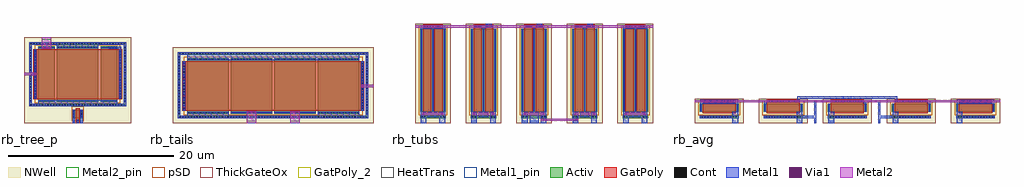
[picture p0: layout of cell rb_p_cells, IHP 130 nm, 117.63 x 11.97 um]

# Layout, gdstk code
from math import pi, radians
import gdstk
lib = gdstk.Library(unit=1e-6, precision=1e-09)
def R(c, l, rs):  # rectangles x0, y0, x1, y1
    for r in rs: c.add(gdstk.rectangle(r[:2], r[2:], *l))
def A(c, l, x, y, w, h, nx, ny, dx, dy):  # array of equal rectangles
    R(c, l, [(x+i*dx, y+j*dy, x+i*dx+w, y+j*dy+h) for i in range(nx) for j in range(ny)])
Activ = (1, 0)
GatPoly = (5, 0)
GatPoly_2 = (5, 2)
Cont = (6, 0)
Metal1 = (8, 0)
Metal1_pin = (8, 2)
Metal2 = (10, 0)
Metal2_pin = (10, 2)
pSD = (14, 0)
Via1 = (19, 0)
NWell = (31, 0)
ThickGateOx = (44, 0)
HeatTrans = (51, 0)

rb_pmoshv_w2_l6 = lib.new_cell('rb_pmosHV_w2_l6')
R(rb_pmoshv_w2_l6, Activ, [(0,0,0.3,0.3), (0,0,6.68,2), (6.38,0,6.68,0.3)])
R(rb_pmoshv_w2_l6, GatPoly, [(0.34,-0.18,6.34,2.18)])
R(rb_pmoshv_w2_l6, GatPoly_2, [(0.34,-0.18,6.34,2.18)])
A(rb_pmoshv_w2_l6, Cont, 0.07, 0.07, 0.16, 0.16, 1, 6, 0, 0.34)
A(rb_pmoshv_w2_l6, Cont, 6.45, 0.07, 0.16, 0.16, 1, 6, 0, 0.34)
R(rb_pmoshv_w2_l6, Metal1, [(0.07,0,0.23,2), (6.45,0,6.61,2)])
R(rb_pmoshv_w2_l6, Metal1_pin, [(0.07,0,0.23,2), (6.45,0,6.61,2)])
R(rb_pmoshv_w2_l6, pSD, [(-0.18,-0.4,6.86,2.4)])
R(rb_pmoshv_w2_l6, NWell, [(-0.62,-0.62,7.3,2.62)])
R(rb_pmoshv_w2_l6, ThickGateOx, [(-0.62,-0.62,7.3,2.62)])
R(rb_pmoshv_w2_l6, HeatTrans, [(0.34,-0.18,6.34,2.18)])
rb_pmoshv_w2_l6.add(gdstk.Label('pmosHV', (3.34,1), layer=63, texttype=0))
rb_pmoshv_w2_l6.add(gdstk.Label('pmos', (3.34,1), layer=51, texttype=0))

rb_pmoshv_w5_l6 = lib.new_cell('rb_pmosHV_w5_l6')
R(rb_pmoshv_w5_l6, Activ, [(0,0,0.3,0.3), (0,0,6.68,5), (6.38,0,6.68,0.3)])
R(rb_pmoshv_w5_l6, GatPoly, [(0.34,-0.18,6.34,5.18)])
R(rb_pmoshv_w5_l6, GatPoly_2, [(0.34,-0.18,6.34,5.18)])
A(rb_pmoshv_w5_l6, Cont, 0.07, 0.07, 0.16, 0.16, 1, 4, 0, 0.36)
A(rb_pmoshv_w5_l6, Cont, 6.45, 0.07, 0.16, 0.16, 1, 4, 0, 0.36)
A(rb_pmoshv_w5_l6, Cont, 0.07, 1.515, 0.16, 0.16, 1, 3, 0, 0.36)
A(rb_pmoshv_w5_l6, Cont, 6.45, 1.515, 0.16, 0.16, 1, 3, 0, 0.36)
A(rb_pmoshv_w5_l6, Cont, 0.07, 2.6, 0.16, 0.16, 1, 3, 0, 0.36)
A(rb_pmoshv_w5_l6, Cont, 6.45, 2.6, 0.16, 0.16, 1, 3, 0, 0.36)
A(rb_pmoshv_w5_l6, Cont, 0.07, 3.685, 0.16, 0.16, 1, 3, 0, 0.36)
A(rb_pmoshv_w5_l6, Cont, 6.45, 3.685, 0.16, 0.16, 1, 3, 0, 0.36)
R(rb_pmoshv_w5_l6, Cont, [(0.07,4.77,0.23,4.93), (6.45,4.77,6.61,4.93)])
R(rb_pmoshv_w5_l6, Metal1, [(0.07,0,0.23,5), (6.45,0,6.61,5)])
R(rb_pmoshv_w5_l6, Metal1_pin, [(0.07,0,0.23,5), (6.45,0,6.61,5)])
R(rb_pmoshv_w5_l6, pSD, [(-0.18,-0.4,6.86,5.4)])
R(rb_pmoshv_w5_l6, NWell, [(-0.62,-0.62,7.3,5.62)])
R(rb_pmoshv_w5_l6, ThickGateOx, [(-0.62,-0.62,7.3,5.62)])
R(rb_pmoshv_w5_l6, HeatTrans, [(0.34,-0.18,6.34,5.18)])
rb_pmoshv_w5_l6.add(gdstk.Label('pmosHV', (3.34,2.5), layer=63, texttype=0))
rb_pmoshv_w5_l6.add(gdstk.Label('pmos', (3.34,2.5), layer=51, texttype=0))

rb_pmoshv_w1_l0p45 = lib.new_cell('rb_pmosHV_w1_l0p45')
R(rb_pmoshv_w1_l0p45, Activ, [(0,0,0.3,0.3), (0,0,1.13,1), (0.83,0,1.13,0.3)])
R(rb_pmoshv_w1_l0p45, GatPoly, [(0.34,-0.18,0.79,1.18)])
R(rb_pmoshv_w1_l0p45, GatPoly_2, [(0.34,-0.18,0.79,1.18)])
A(rb_pmoshv_w1_l0p45, Cont, 0.07, 0.07, 0.16, 0.16, 1, 3, 0, 0.35)
A(rb_pmoshv_w1_l0p45, Cont, 0.9, 0.07, 0.16, 0.16, 1, 3, 0, 0.35)
R(rb_pmoshv_w1_l0p45, Metal1, [(0.07,0,0.23,1), (0.9,0,1.06,1)])
R(rb_pmoshv_w1_l0p45, Metal1_pin, [(0.07,0,0.23,1), (0.9,0,1.06,1)])
R(rb_pmoshv_w1_l0p45, pSD, [(-0.18,-0.4,1.31,1.4)])
R(rb_pmoshv_w1_l0p45, NWell, [(-0.62,-0.62,1.75,1.62)])
R(rb_pmoshv_w1_l0p45, ThickGateOx, [(-0.62,-0.62,1.75,1.62)])
R(rb_pmoshv_w1_l0p45, HeatTrans, [(0.34,-0.18,0.79,1.18)])
rb_pmoshv_w1_l0p45.add(gdstk.Label('pmosHV', (0.565,0.5), layer=63, texttype=0))
rb_pmoshv_w1_l0p45.add(gdstk.Label('pmos', (0.565,0.5), layer=51, texttype=0))

rb_tree_p = lib.new_cell('rb_tree_p')
R(rb_tree_p, Activ, [(0.62,2.05,12.32,2.35), (0.62,2.35,0.92,9.45), (12.02,2.35,12.32,9.45), (0.62,9.45,12.32,9.75)])
R(rb_tree_p, GatPoly, [(6.245,0.06,6.695,0.62), (1.12,2.9,1.72,8.9), (11.22,2.9,11.82,8.9)])
A(rb_tree_p, Cont, 0.78, 2.12, 0.16, 0.16, 34, 2, 0.34, 7.4)
A(rb_tree_p, Cont, 0.69, 2.59, 0.16, 0.16, 1, 20, 0, 0.34)
A(rb_tree_p, Cont, 12.09, 2.59, 0.16, 0.16, 1, 20, 0, 0.34)
A(rb_tree_p, Cont, 1.26, 3.1, 0.16, 0.16, 1, 17, 0, 0.34)
A(rb_tree_p, Cont, 11.52, 3.1, 0.16, 0.16, 1, 17, 0, 0.34)
R(rb_tree_p, Cont, [(6.39,0.28,6.55,0.44)])
R(rb_tree_p, Metal1, [(5.875,0,6.135,1.62), (6.34,0,6.6,0.44), (6.805,0,7.065,1.62), (0.62,2.05,12.32,2.35), (1.72,2.05,11.22,2.79), (0.62,2.35,0.92,9.45), (12.02,2.35,12.32,9.45), (1.21,2.92,1.47,8.88), (11.47,2.92,11.73,8.88), (11.47,8.87,11.73,9.21), (2.165,8.94,3.275,9.23), (10.22,8.95,11.73,9.21), (3.97,9.01,8.97,9.45), (0.62,9.45,12.32,9.75)])
A(rb_tree_p, Metal1_pin, 5.875, 0, 0.26, 0.3, 3, 1, 0.465, 0)
R(rb_tree_p, Metal1_pin, [(0.62,3.06,0.92,5.06)])
R(rb_tree_p, Metal2, [(0,5.75,1.47,6.05), (2.165,8.94,3.275,10.37)])
R(rb_tree_p, Metal2_pin, [(0,5.75,0.5,6.05), (2.165,10.07,3.275,10.37)])
A(rb_tree_p, Via1, 2.215, 8.99, 0.19, 0.19, 3, 1, 0.41, 0)
R(rb_tree_p, Via1, [(1.245,5.805,1.435,5.995)])
R(rb_tree_p, NWell, [(0,0,12.94,10.37)])
R(rb_tree_p, ThickGateOx, [(0,0,12.94,10.37)])
rb_tree_p.add(gdstk.Reference(rb_pmoshv_w2_l6, (3.72,2.56), rotation=pi/2))
rb_tree_p.add(gdstk.Reference(rb_pmoshv_w5_l6, (8.97,2.56), rotation=pi/2))
rb_tree_p.add(gdstk.Reference(rb_pmoshv_w2_l6, (9.22,2.56), rotation=pi/2, x_reflection=True))
rb_tree_p.add(gdstk.Reference(rb_pmoshv_w1_l0p45, (5.905,1.62), x_reflection=True))
rb_tree_p.add(gdstk.Label('vdd', (0.77,4.06), layer=8, texttype=25))
rb_tree_p.add(gdstk.Label('en_3v3_b', (6.47,0.15), layer=8, texttype=25))
rb_tree_p.add(gdstk.Label('iref', (6.005,0.15), layer=8, texttype=25))
rb_tree_p.add(gdstk.Label('ni', (6.935,0.15), layer=8, texttype=25))
rb_tree_p.add(gdstk.Label('vbnc', (2.72,10.22), layer=10, texttype=25))
rb_tree_p.add(gdstk.Label('vbp', (0.25,5.9), layer=10, texttype=25))
rb_tree_p.add(gdstk.Label('PBNC', (2.72,5.9), layer=63, texttype=0))
rb_tree_p.add(gdstk.Label('MDPBN', (6.47,5.9), layer=63, texttype=0))
rb_tree_p.add(gdstk.Label('BP', (10.22,5.9), layer=63, texttype=0))
rb_tree_p.add(gdstk.Label('TGP', (6.47,1.12), layer=63, texttype=0))

rb_tails = lib.new_cell('rb_tails')
R(rb_tails, Activ, [(0.62,0.62,23.57,0.92), (0.62,0.92,0.92,8.24), (23.27,0.92,23.57,8.24), (0.62,8.24,23.57,8.54)])
R(rb_tails, GatPoly, [(1.12,1.47,1.72,7.47), (22.47,1.47,23.07,7.47)])
A(rb_tails, Cont, 0.795, 0.69, 0.16, 0.16, 67, 2, 0.34, 7.62)
A(rb_tails, Cont, 0.69, 1.1, 0.16, 0.16, 1, 21, 0, 0.34)
A(rb_tails, Cont, 23.34, 1.1, 0.16, 0.16, 1, 21, 0, 0.34)
A(rb_tails, Cont, 1.26, 1.67, 0.16, 0.16, 1, 17, 0, 0.34)
A(rb_tails, Cont, 22.77, 1.67, 0.16, 0.16, 1, 17, 0, 0.34)
R(rb_tails, Metal1, [(0.62,0.62,23.57,0.92), (0.62,0.92,0.92,8.24), (1.72,0.92,6.72,1.36), (17.47,0.92,22.47,1.36), (23.27,0.92,23.57,8.24), (8.915,1.14,10.025,1.43), (14.165,1.14,15.275,1.43), (1.21,1.49,1.47,7.45), (22.72,1.49,22.98,7.45), (1.72,7.58,22.47,8.54), (0.62,8.24,23.57,8.54)])
R(rb_tails, Metal1_pin, [(0.62,1.63,0.92,3.63)])
R(rb_tails, Metal2, [(8.915,0,10.025,1.43), (14.165,0,15.275,1.43), (22.72,4.32,24.19,4.62)])
R(rb_tails, Metal2_pin, [(8.915,0,10.025,0.3), (14.165,0,15.275,0.3), (23.69,4.32,24.19,4.62)])
A(rb_tails, Via1, 8.965, 1.19, 0.19, 0.19, 3, 1, 0.41, 0)
A(rb_tails, Via1, 14.215, 1.19, 0.19, 0.19, 3, 1, 0.41, 0)
R(rb_tails, Via1, [(22.755,4.375,22.945,4.565)])
R(rb_tails, NWell, [(0,0,24.19,9.16)])
R(rb_tails, ThickGateOx, [(0,0,24.19,9.16)])
rb_tails.add(gdstk.Reference(rb_pmoshv_w5_l6, (1.72,7.81), rotation=3*pi/2))
rb_tails.add(gdstk.Reference(rb_pmoshv_w5_l6, (6.97,7.81), rotation=3*pi/2))
rb_tails.add(gdstk.Reference(rb_pmoshv_w5_l6, (17.22,7.81), rotation=3*pi/2, x_reflection=True))
rb_tails.add(gdstk.Reference(rb_pmoshv_w5_l6, (22.47,7.81), rotation=3*pi/2, x_reflection=True))
rb_tails.add(gdstk.Label('vdd', (0.77,2.63), layer=8, texttype=25))
rb_tails.add(gdstk.Label('ts', (9.47,0.15), layer=10, texttype=25))
rb_tails.add(gdstk.Label('bt', (14.72,0.15), layer=10, texttype=25))
rb_tails.add(gdstk.Label('vbp', (23.94,4.47), layer=10, texttype=25))
rb_tails.add(gdstk.Label('D', (4.22,4.47), layer=63, texttype=0))
rb_tails.add(gdstk.Label('TR', (9.47,4.47), layer=63, texttype=0))
rb_tails.add(gdstk.Label('BT', (14.72,4.47), layer=63, texttype=0))
rb_tails.add(gdstk.Label('D', (19.97,4.47), layer=63, texttype=0))

rb_pmoshv_w20_l1_ng2 = lib.new_cell('rb_pmosHV_w20_l1_ng2')
A(rb_pmoshv_w20_l1_ng2, Activ, 0, 0, 0.3, 0.3, 3, 1, 1.38, 0)
R(rb_pmoshv_w20_l1_ng2, Activ, [(0,0,3.06,10)])
R(rb_pmoshv_w20_l1_ng2, GatPoly, [(0.34,-0.18,1.34,10.18), (1.72,-0.18,2.72,10.18)])
R(rb_pmoshv_w20_l1_ng2, GatPoly_2, [(0.34,-0.18,1.34,10.18)])
A(rb_pmoshv_w20_l1_ng2, Cont, 0.07, 0.07, 0.16, 0.16, 3, 4, 1.38, 0.345)
A(rb_pmoshv_w20_l1_ng2, Cont, 0.07, 1.455, 0.16, 0.16, 3, 3, 1.38, 0.345)
A(rb_pmoshv_w20_l1_ng2, Cont, 0.07, 2.495, 0.16, 0.16, 3, 4, 1.38, 0.345)
A(rb_pmoshv_w20_l1_ng2, Cont, 0.07, 3.88, 0.16, 0.16, 3, 3, 1.38, 0.345)
A(rb_pmoshv_w20_l1_ng2, Cont, 0.07, 4.92, 0.16, 0.16, 3, 4, 1.38, 0.345)
A(rb_pmoshv_w20_l1_ng2, Cont, 0.07, 6.305, 0.16, 0.16, 3, 3, 1.38, 0.345)
A(rb_pmoshv_w20_l1_ng2, Cont, 0.07, 7.345, 0.16, 0.16, 3, 4, 1.38, 0.345)
A(rb_pmoshv_w20_l1_ng2, Cont, 0.07, 8.73, 0.16, 0.16, 3, 3, 1.38, 0.345)
A(rb_pmoshv_w20_l1_ng2, Cont, 0.07, 9.77, 0.16, 0.16, 3, 1, 1.38, 0)
A(rb_pmoshv_w20_l1_ng2, Metal1, 0.07, 0, 0.16, 10, 3, 1, 1.38, 0)
R(rb_pmoshv_w20_l1_ng2, Metal1_pin, [(0.07,0,0.23,10), (1.45,0,1.61,10)])
R(rb_pmoshv_w20_l1_ng2, pSD, [(-0.18,-0.4,3.24,10.4)])
R(rb_pmoshv_w20_l1_ng2, NWell, [(-0.62,-0.62,3.68,10.62)])
R(rb_pmoshv_w20_l1_ng2, ThickGateOx, [(-0.62,-0.62,3.68,10.62)])
R(rb_pmoshv_w20_l1_ng2, HeatTrans, [(0.34,-0.18,1.34,10.18), (1.72,-0.18,2.72,10.18)])
rb_pmoshv_w20_l1_ng2.add(gdstk.Label('pmosHV', (0.84,5), layer=63, texttype=0))
rb_pmoshv_w20_l1_ng2.add(gdstk.Label('pmos', (0.84,5), layer=51, texttype=0))
rb_pmoshv_w20_l1_ng2.add(gdstk.Label('pmos', (2.22,5), layer=51, texttype=0))

rb_tub_p20x1 = lib.new_cell('rb_tub_p20x1')
R(rb_tub_p20x1, Activ, [(0,-0.73,3.06,-0.43)])
R(rb_tub_p20x1, GatPoly, [(0.34,10,1.34,10.56), (1.72,10,2.72,10.56), (1.34,10.07,1.72,10.56)])
A(rb_tub_p20x1, Cont, 0.42, 10.18, 0.16, 0.16, 3, 1, 0.34, 0)
A(rb_tub_p20x1, Cont, 1.8, 10.18, 0.16, 0.16, 3, 1, 0.34, 0)
R(rb_tub_p20x1, Cont, [(0.12,-0.66,0.28,-0.5), (0.46,-0.66,0.62,-0.5), (2.44,-0.66,2.6,-0.5), (2.78,-0.66,2.94,-0.5)])
R(rb_tub_p20x1, Metal1, [(0.07,-1.35,0.74,0), (2.32,-1.35,2.99,0), (0.975,-0.62,2.085,0), (0.37,10.18,1.31,10.4), (1.75,10.18,2.69,10.4)])
R(rb_tub_p20x1, Metal2, [(0.26,-0.41,2.8,-0.12)])
R(rb_tub_p20x1, Via1, [(0.31,-0.36,0.5,-0.17), (2.56,-0.36,2.75,-0.17)])
R(rb_tub_p20x1, NWell, [(-0.62,-1.35,3.68,10.62)])
R(rb_tub_p20x1, ThickGateOx, [(-0.62,-1.35,3.68,10.62)])
rb_tub_p20x1.add(gdstk.Reference(rb_pmoshv_w20_l1_ng2, (0,0)))

rb_tubs = lib.new_cell('rb_tubs')
A(rb_tubs, Metal1, 8.54, 11.53, 0.7, 0.44, 3, 1, 6.1, 0)
R(rb_tubs, Metal1, [(13.795,0,14.905,0.73), (0.69,0.73,3.61,1.05), (25.09,0.73,28.01,1.05), (0.69,11.35,3.61,11.795), (8.03,11.35,8.47,11.75), (20.23,11.35,20.67,11.75), (25.09,11.35,28.01,11.795)])
A(rb_tubs, Metal1_pin, 6.79, 0, 0.67, 0.3, 3, 1, 6.1, 0)
A(rb_tubs, Metal1_pin, 8.54, 11.67, 0.7, 0.3, 3, 1, 6.1, 0)
R(rb_tubs, Metal1_pin, [(13.795,0,14.905,0.3)])
R(rb_tubs, Metal2, [(15.14,0.27,19.66,0.53), (0,11.52,28.7,11.78)])
R(rb_tubs, Metal2_pin, [(0,11.52,0.5,11.78)])
A(rb_tubs, Via1, 1.235, 11.555, 0.19, 0.19, 5, 1, 0.41, 0)
A(rb_tubs, Via1, 25.635, 11.555, 0.19, 0.19, 5, 1, 0.41, 0)
R(rb_tubs, Via1, [(15.38,0.305,15.57,0.495), (19.23,0.305,19.42,0.495)])
rb_tubs.add(gdstk.Reference(rb_tub_p20x1, (0.62,1.35)))
rb_tubs.add(gdstk.Reference(rb_tub_p20x1, (6.72,1.35)))
rb_tubs.add(gdstk.Reference(rb_tub_p20x1, (12.82,1.35)))
rb_tubs.add(gdstk.Reference(rb_tub_p20x1, (18.92,1.35)))
rb_tubs.add(gdstk.Reference(rb_tub_p20x1, (25.02,1.35)))
rb_tubs.add(gdstk.Label('gh', (8.89,11.82), layer=8, texttype=25))
rb_tubs.add(gdstk.Label('ts', (7.125,0.15), layer=8, texttype=25))
rb_tubs.add(gdstk.Label('bd', (14.35,0.15), layer=8, texttype=25))
rb_tubs.add(gdstk.Label('m', (14.99,11.82), layer=8, texttype=25))
rb_tubs.add(gdstk.Label('bt', (13.225,0.15), layer=8, texttype=25))
rb_tubs.add(gdstk.Label('vcm', (21.09,11.82), layer=8, texttype=25))
rb_tubs.add(gdstk.Label('bt', (19.325,0.15), layer=8, texttype=25))
rb_tubs.add(gdstk.Label('vdd', (0.25,11.65), layer=10, texttype=25))
rb_tubs.add(gdstk.Label('D', (2.15,6.35), layer=63, texttype=0))
rb_tubs.add(gdstk.Label('MR', (8.25,6.35), layer=63, texttype=0))
rb_tubs.add(gdstk.Label('BA', (14.35,6.35), layer=63, texttype=0))
rb_tubs.add(gdstk.Label('BB', (20.45,6.35), layer=63, texttype=0))
rb_tubs.add(gdstk.Label('D', (26.55,6.35), layer=63, texttype=0))

rb_pmoshv_w1_l4 = lib.new_cell('rb_pmosHV_w1_l4')
R(rb_pmoshv_w1_l4, Activ, [(0,0,0.3,0.3), (0,0,4.68,1), (4.38,0,4.68,0.3)])
R(rb_pmoshv_w1_l4, GatPoly, [(0.34,-0.18,4.34,1.18)])
R(rb_pmoshv_w1_l4, GatPoly_2, [(0.34,-0.18,4.34,1.18)])
A(rb_pmoshv_w1_l4, Cont, 0.07, 0.07, 0.16, 0.16, 1, 3, 0, 0.35)
A(rb_pmoshv_w1_l4, Cont, 4.45, 0.07, 0.16, 0.16, 1, 3, 0, 0.35)
R(rb_pmoshv_w1_l4, Metal1, [(0.07,0,0.23,1), (4.45,0,4.61,1)])
R(rb_pmoshv_w1_l4, Metal1_pin, [(0.07,0,0.23,1), (4.45,0,4.61,1)])
R(rb_pmoshv_w1_l4, pSD, [(-0.18,-0.4,4.86,1.4)])
R(rb_pmoshv_w1_l4, NWell, [(-0.62,-0.62,5.3,1.62)])
R(rb_pmoshv_w1_l4, ThickGateOx, [(-0.62,-0.62,5.3,1.62)])
R(rb_pmoshv_w1_l4, HeatTrans, [(0.34,-0.18,4.34,1.18)])
rb_pmoshv_w1_l4.add(gdstk.Label('pmosHV', (2.34,0.5), layer=63, texttype=0))
rb_pmoshv_w1_l4.add(gdstk.Label('pmos', (2.34,0.5), layer=51, texttype=0))

rb_tub_p1x4 = lib.new_cell('rb_tub_p1x4')
R(rb_tub_p1x4, Activ, [(0,-0.73,4.68,-0.43)])
R(rb_tub_p1x4, GatPoly, [(0.34,1,4.34,1.56)])
A(rb_tub_p1x4, Cont, 0.22, -0.66, 0.16, 0.16, 13, 1, 0.34, 0)
A(rb_tub_p1x4, Cont, 0.56, 1.18, 0.16, 0.16, 11, 1, 0.34, 0)
R(rb_tub_p1x4, Metal1, [(0.07,-1.35,0.74,0), (0,-0.73,4.68,-0.43), (4.31,1,4.61,1.4), (0.37,1.18,4.31,1.4)])
R(rb_tub_p1x4, NWell, [(-0.62,-1.35,5.3,1.62)])
R(rb_tub_p1x4, ThickGateOx, [(-0.62,-1.35,5.3,1.62)])
rb_tub_p1x4.add(gdstk.Reference(rb_pmoshv_w1_l4, (0,0)))

rb_avg = lib.new_cell('rb_avg')
R(rb_avg, Metal1, [(14.41,0,14.67,2.75), (22.13,0,22.39,2.75), (13.02,0.62,14.67,0.92), (22.13,0.62,23.78,0.92), (0.69,2.35,5.23,2.795), (31.57,2.35,36.11,2.795), (12.39,2.53,12.65,3.23), (14.41,2.53,16.43,2.75), (20.37,2.53,22.39,2.75), (24.15,2.53,24.41,3.23), (12.39,2.97,24.41,3.23)])
R(rb_avg, Metal1_pin, [(14.41,0,14.67,0.3), (16.13,0,16.8,0.3), (22.13,0,22.39,0.3), (17.9,2.97,18.9,3.23)])
R(rb_avg, Metal2, [(0,2.52,36.8,2.78)])
R(rb_avg, Metal2_pin, [(0,2.52,0.5,2.78)])
A(rb_avg, Via1, 1.225, 2.555, 0.19, 0.19, 9, 1, 0.41, 0)
A(rb_avg, Via1, 32.105, 2.555, 0.19, 0.19, 9, 1, 0.41, 0)
rb_avg.add(gdstk.Reference(rb_tub_p1x4, (16.06,1.35)))
rb_avg.add(gdstk.Reference(rb_tub_p1x4, (23.78,1.35)))
rb_avg.add(gdstk.Reference(rb_tub_p1x4, (13.02,1.35), rotation=pi, x_reflection=True))
rb_avg.add(gdstk.Reference(rb_tub_p1x4, (31.5,1.35)))
rb_avg.add(gdstk.Reference(rb_tub_p1x4, (5.3,1.35), rotation=pi, x_reflection=True))
rb_avg.add(gdstk.Label('m', (14.54,0.15), layer=8, texttype=25))
rb_avg.add(gdstk.Label('m', (22.26,0.15), layer=8, texttype=25))
rb_avg.add(gdstk.Label('xp', (18.4,3.1), layer=8, texttype=25))
rb_avg.add(gdstk.Label('gh', (16.465,0.15), layer=8, texttype=25))
rb_avg.add(gdstk.Label('vdd', (0.25,2.65), layer=10, texttype=25))
rb_avg.add(gdstk.Label('SU', (18.4,1.85), layer=63, texttype=0))
rb_avg.add(gdstk.Label('SL2', (26.12,1.85), layer=63, texttype=0))
rb_avg.add(gdstk.Label('SL1', (10.68,1.85), layer=63, texttype=0))
rb_avg.add(gdstk.Label('D', (33.84,1.85), layer=63, texttype=0))
rb_avg.add(gdstk.Label('D', (2.96,1.85), layer=63, texttype=0))

rb_p_cells = lib.new_cell('rb_p_cells')
rb_p_cells.add(gdstk.Reference(rb_tree_p, (0,0)))
rb_p_cells.add(gdstk.Reference(rb_tails, (17.94,0)))
rb_p_cells.add(gdstk.Reference(rb_tubs, (47.13,0)))
rb_p_cells.add(gdstk.Reference(rb_avg, (80.83,0)))
rb_p_cells.add(gdstk.Label('rb_tree_p', (0,-2), layer=63, texttype=0))
rb_p_cells.add(gdstk.Label('rb_tails', (17.94,-2), layer=63, texttype=0))
rb_p_cells.add(gdstk.Label('rb_tubs', (47.13,-2), layer=63, texttype=0))
rb_p_cells.add(gdstk.Label('rb_avg', (80.83,-2), layer=63, texttype=0))

lib.write_gds('rb_p_cells.gds')
